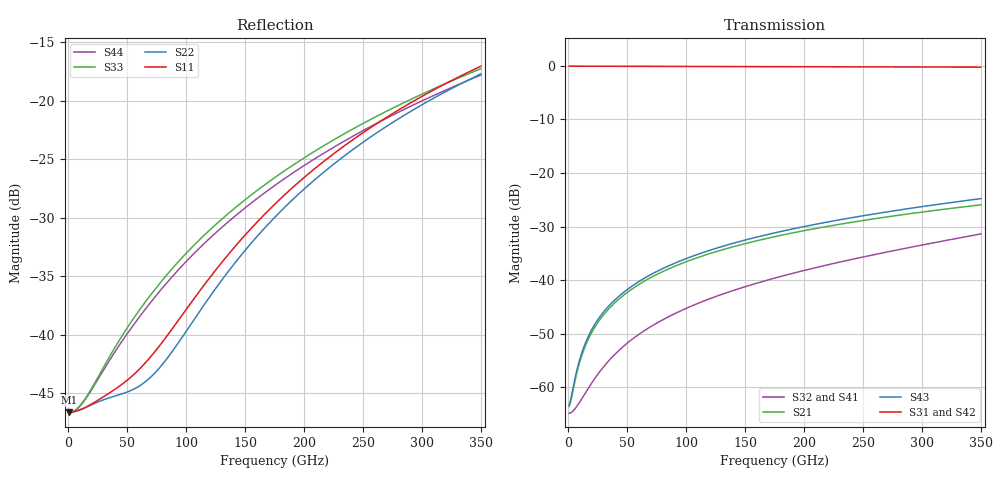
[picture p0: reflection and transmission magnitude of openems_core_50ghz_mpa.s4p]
#  Hz  S  RI  R  50
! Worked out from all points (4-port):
!   400 points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, 875 MHz to 350 GHz, reference 50 ohm
!   strongest paths, dB at 875 MHz, 88.38 GHz, 175.9 GHz, 263.4 GHz, 350 GHz:
!     S31: 0.0, -0.1, -0.1, -0.2, -0.2
!     S42: 0.0, -0.1, -0.1, -0.2, -0.2
!     S43: -63.4, -37.0, -31.1, -27.5, -24.8
!     S21: -63.6, -37.6, -31.9, -28.4, -25.9
!     S32: -64.9, -46.5, -39.6, -35.1, -31.4
!     S41: -64.9, -46.8, -39.8, -35.3, -31.5
!   lowest |S11| = -46.6 dB at 875 MHz (marker M1), VSWR 1.01, Z = 50.5 - j0.00449 ohm
!   |S11| at or under -10 dB: start of sweep to end of sweep
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8.75e8  0.00467 -4.45e-05  0.000647 0.000137  0.9949 -0.0021  -0.000572 3.21e-05
        0.000646 0.000137  0.00468 -2.28e-05  -0.000576 2.93e-05  0.9948 -0.00211
        0.9949 -0.00208  -0.000569 3.83e-05  0.00465 -3.11e-05  0.000673 0.00015
        -0.000568 3.63e-05  0.9948 -0.0021  0.000662 0.000149  0.00463 -4.67e-06
1.1375e10  0.00477 -0.000649  0.000776 0.00177  0.9941 -0.0272  -0.000593 0.000425
           0.000776 0.00177  0.0048 -0.000371  -0.0006 0.000389  0.994 -0.0273
           0.9941 -0.0269  -0.000584 0.000505  0.00506 -0.000485  0.000723 0.00194
           -0.000585 0.00048  0.9941 -0.0271  0.000716 0.00192  0.00505 -0.000147
2.45e10  0.0049 -0.00184  0.0012 0.00372  0.9918 -0.0578  -0.000643 0.00097
         0.00121 0.00372  0.005 -0.00125  -0.000657 0.000894  0.9917 -0.0579
         0.9918 -0.0571  -0.000615 0.00113  0.0063 -0.00155  0.000868 0.0041
         -0.000622 0.00108  0.9917 -0.0576  0.000869 0.00407  0.00631 -0.000847
4.55e10  0.00402 -0.00465  0.00232 0.0066  0.9864 -0.1054  -0.000643 0.00198
         0.00232 0.0066  0.00431 -0.00358  -0.000675 0.00184  0.9864 -0.1055
         0.9866 -0.104  -0.000581 0.00226  0.0088 -0.00448  0.00114 0.00741
         -0.000595 0.00217  0.9864 -0.1048  0.00114 0.00735  0.00881 -0.00319
7.6125e10  -0.00034 -0.0088  0.00479 0.0104  0.9751 -0.1738  -0.000336 0.00358
           0.00479 0.0104  0.000451 -0.00709  -0.000416 0.00335  0.9751 -0.1741
           0.9756 -0.1716  -0.000217 0.00402  0.0128 -0.01  0.00158 0.0122
           -0.000244 0.00388  0.9751 -0.1729  0.00161 0.0121  0.0128 -0.00789
1.96e11  -0.0442 -0.00938  0.0224 0.0174  0.8868 -0.429  0.00467 0.00988
         0.0224 0.0174  -0.0396 -0.00687  0.0042 0.00945  0.887 -0.4297
         0.8898 -0.4238  0.00512 0.0108  0.0333 -0.0443  0.00425 0.031
         0.00503 0.0105  0.8879 -0.4265  0.00443 0.0306  0.0334 -0.039
3.5e11  -0.1264 0.0619  0.0504 -0.00232  0.6687 -0.7049  0.0217 0.0129
        0.0504 -0.00229  -0.1162 0.0595  0.0205 0.0127  0.67 -0.7071
        0.6789 -0.6985  0.0229 0.0144  0.0555 -0.1256  0.0113 0.0573
        0.0226 0.0137  0.674 -0.7019  0.0117 0.0565  0.0553 -0.1165
